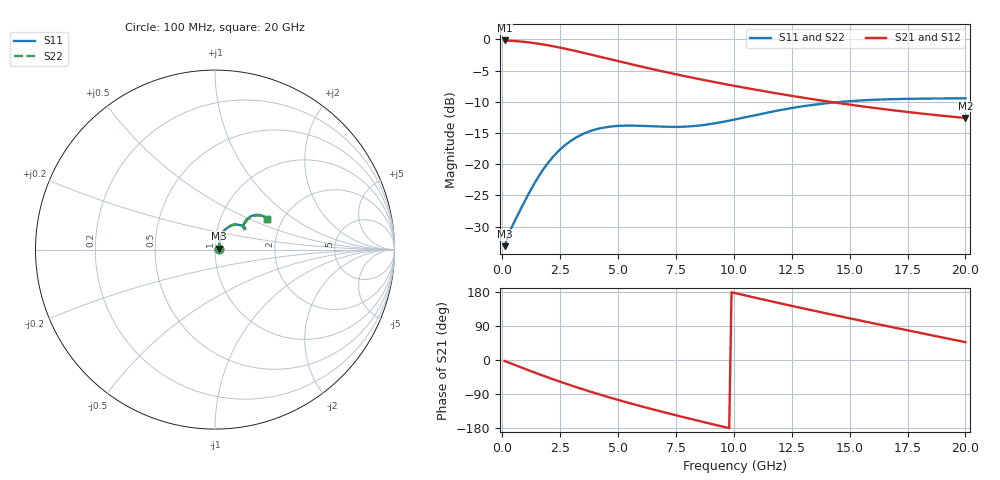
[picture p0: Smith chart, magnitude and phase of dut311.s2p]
! Touchstone file exported from HFSS 2024.1.0
!  File:  C:/UserFiles/LocalFiles/RDL_TSV_Batchsim/temp_RDL_TSV_311_1779627218.aedt
!  Generated:  09:11:20 PM May 24, 2026
!  Design:  RDL_TSV
!  Project:  temp_RDL_TSV_311_1779627218
!  Setup:  Setup1
!  Solution:  Sweep
! Variables:
!  dtsv = 7.4um
!  hbump = 3um
!  htsv = 78.1um
!  ldown = 695.47um
!  lrdl = 695.05um
!  p = 40
!  p1 = 46.83um
!  rhole = 10um
!  subl = 4866.61um
!  t = 450um
!  tdown = 4.41um
!  trdl = 3.54um
!  viad = 10um
!  wdown = 28.93um
!  wrdl = 19.84um
!  xbump = 18um
# GHz S MA R 50.000000
! Terminal data exported
! Port[1] = TM1_1_T1
! Port[2] = TM1_4_T1
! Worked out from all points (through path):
!   200 points, 100 MHz to 20 GHz, reference 50 ohm
!   highest |S21| = -0.19 dB at 100 MHz (marker M1); lowest = -12.6 dB at 20 GHz (marker M2)
!   group delay of S21, straight-line fit = 41.7 ps
!   lowest |S11| = -33.1 dB at 100 MHz (marker M3), VSWR 1.05, Z = 52.2 + j0.613 ohm
!   |S11| at or under -10 dB: start of sweep to 14.7 GHz
!   |S22| runs from -33.1 to -9.5 dB; largest |S21 - S12| = 1.1e-14
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0.1  0.02205 15.5  0.9785 -2.5  0.9785 -2.5  0.02204 15.5
! Gamma 0 0 0 0
! Port Impedance 50 0 50 0
0.4  0.03102 37.5  0.9718 -9.8  0.9718 -9.8  0.031 37.6
0.9  0.04765 56.3  0.9554 -21.6  0.9554 -21.6  0.04763 56.5
1.4  0.07079 64.4  0.9308 -33.2  0.9308 -33.2  0.0709 64.8
1.8  0.09249 65.7  0.9064 -42.2  0.9064 -42.2  0.09279 66.0
2.2  0.1149 64.1  0.8789 -51.0  0.8789 -51.0  0.1155 64.5
2.6  0.1364 61.0  0.8493 -59.5  0.8493 -59.5  0.1372 61.4
3  0.1555 57.1  0.8185 -67.7  0.8185 -67.7  0.1567 57.5
3.5  0.175 52.0  0.7795 -77.7  0.7795 -77.7  0.1766 52.4
4.3  0.195 44.4  0.7185 -92.8  0.7185 -92.8  0.1972 44.8
5.1  0.2029 38.7  0.6617 -107.0  0.6617 -107.0  0.2058 39.0
5.9  0.203 35.3  0.6104 -120.5  0.6104 -120.5  0.2064 35.4
6.8  0.1998 34.5  0.5595 -135.0  0.5595 -135.0  0.2036 34.3
7.5  0.1988 35.7  0.5244 -145.9  0.5244 -145.9  0.2026 35.3
8.3  0.2021 38.2  0.4885 -158.0  0.4885 -158.0  0.2056 37.5
10.1  0.2292 43.1  0.421 175.9  0.421 175.9  0.2312 42.2
11.7  0.2645 43.3  0.3729 153.6  0.3729 153.6  0.2652 42.4
13.4  0.2981 40.4  0.3313 130.8  0.3313 130.8  0.2978 39.7
15  0.3194 36.8  0.2996 110.0  0.2996 110.0  0.3185 36.3
16.7  0.331 33.4  0.2725 88.4  0.2725 88.4  0.3297 33.0
18.4  0.3351 31.2  0.2509 67.0  0.2509 67.0  0.3336 30.9
20  0.3369 30.3  0.2342 47.1  0.2342 47.1  0.3353 30.2
